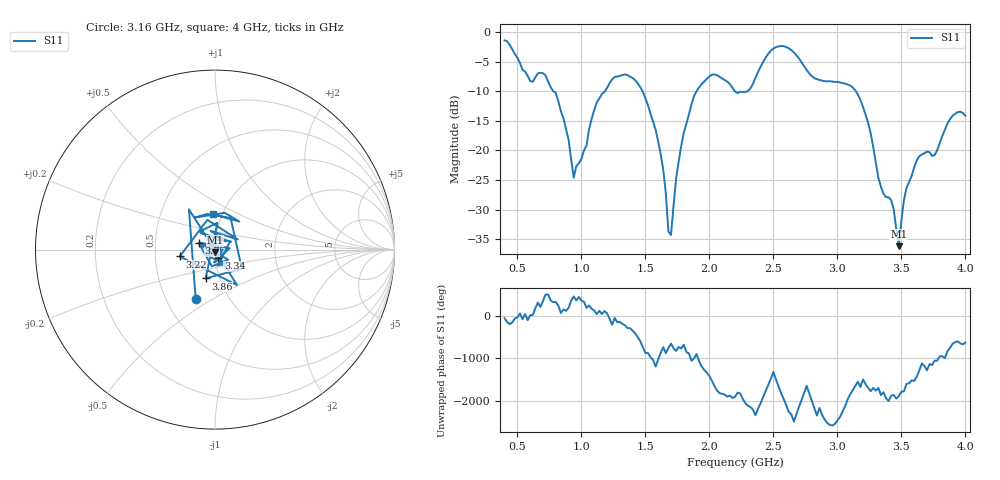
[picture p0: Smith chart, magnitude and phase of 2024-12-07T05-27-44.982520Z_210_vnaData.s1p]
!Created with skrf (http://scikit-rf.org).
# Hz S RI R 50.0
!freq ReS11 ImS11
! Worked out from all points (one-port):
!   181 points, 400 MHz to 4 GHz, reference 50 ohm
!   lowest |S11| = -36.2 dB at 3.48 GHz (marker M1), VSWR 1.03, Z = 49.9 - j1.55 ohm
!   |S11| at or under -10 dB: 781.1 MHz to 1.183 GHz (401.9 MHz wide, 40.9 % of centre); 1.477 GHz to 1.899 GHz (422.1 MHz wide, 25 % of centre); 3.144 GHz to end of sweep (the widest 3 of 4)
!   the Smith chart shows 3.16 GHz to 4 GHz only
!   S11 on the Smith chart (normalised r, x): 3.16 GHz: 0.70, -0.42; 3.22 GHz: 0.67, -0.05; 3.34 GHz: 1.03, -0.09; 3.7 GHz: 0.83, +0.06; 3.86 GHz: 0.86, -0.28; 4 GHz: 0.91, +0.37
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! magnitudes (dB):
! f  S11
! 400 MHz  -1.4
! 600 MHz  -8.3
! 720 MHz  -7.3
! 860 MHz  -14.6
! 940 MHz  -24.6
! 1.12 GHz  -11.9
! 1.3 GHz  -7.4
! 1.44 GHz  -8.6
! 1.56 GHz  -15.1
! 1.64 GHz  -23.3
! 1.68 GHz  -33.7
! 1.7 GHz  -34.3
! 1.76 GHz  -21.9
! 1.92 GHz  -9.3
! 2.04 GHz  -7.2
! 2.2 GHz  -10.0
! 2.5 GHz  -2.8
! 2.66 GHz  -3.5
! 3.1 GHz  -9.0
! 3.16 GHz  -10.6
! 3.22 GHz  -14.0
! 3.34 GHz  -26.1
! 3.42 GHz  -28.4
! 3.48 GHz  -36.2
! 3.56 GHz  -25.4
! 3.7 GHz  -20.2
! 3.86 GHz  -15.5
! 4 GHz  -14.2
